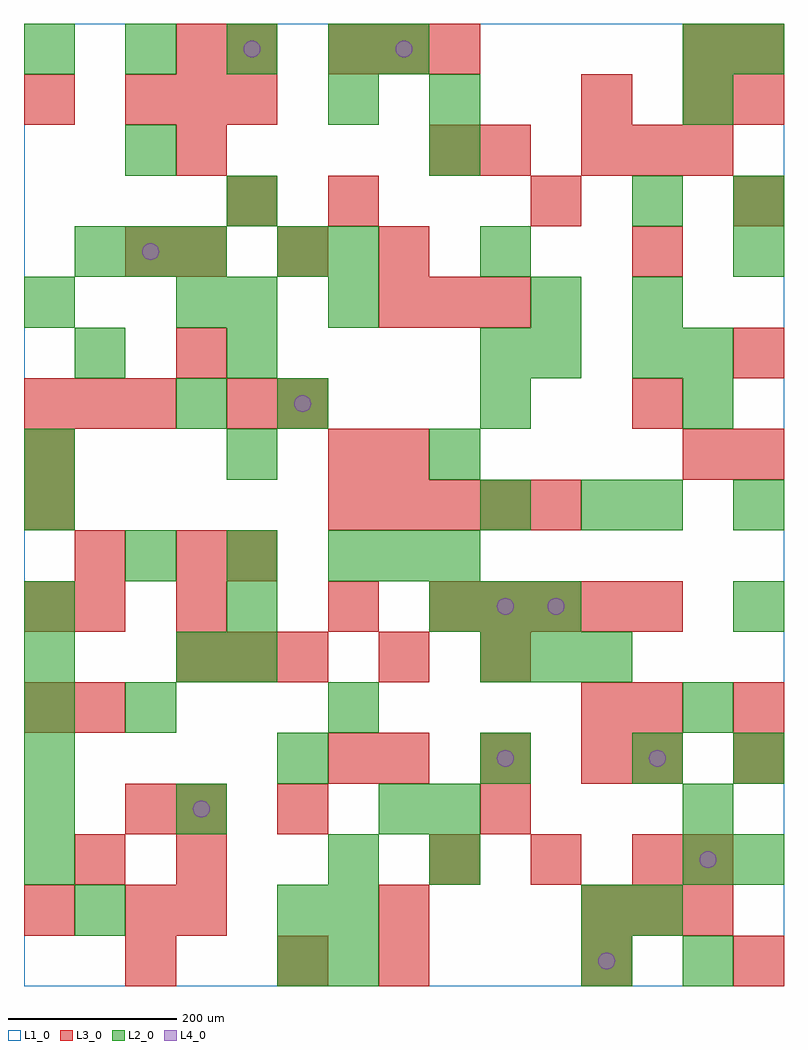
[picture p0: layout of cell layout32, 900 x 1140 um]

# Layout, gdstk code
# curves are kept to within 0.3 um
import gdstk
lib = gdstk.Library(unit=1e-6, precision=1e-09)
def R(c, l, rs):  # rectangles x0, y0, x1, y1
    for r in rs: c.add(gdstk.rectangle(r[:2], r[2:], *l))
def A(c, l, x, y, w, h, nx, ny, dx, dy):  # array of equal rectangles
    R(c, l, [(x+i*dx, y+j*dy, x+i*dx+w, y+j*dy+h) for i in range(nx) for j in range(ny)])
def P(c, l, *ps):  # polygons
    for p in ps: c.add(gdstk.Polygon(p, *l))
L1_0 = (1, 0)
L2_0 = (2, 0)
L3_0 = (3, 0)
L4_0 = (4, 0)

layout32 = lib.new_cell('layout32')
R(layout32, L1_0, [(0,0,900,1140)])
A(layout32, L2_0, 360, 0, 60, 60, 1, 3, 0, 60)
A(layout32, L2_0, 0, 120, 60, 60, 1, 5, 0, 60)
A(layout32, L2_0, 540, 360, 60, 60, 3, 1, 60, 0)
A(layout32, L2_0, 0, 420, 60, 60, 3, 2, 240, 180)
A(layout32, L2_0, 120, 480, 60, 60, 3, 1, 120, 0)
A(layout32, L2_0, 300, 660, 60, 60, 3, 1, 240, 0)
A(layout32, L2_0, 60, 840, 60, 60, 3, 1, 60, 0)
A(layout32, L2_0, 0, 1080, 60, 60, 4, 1, 120, 0)
R(layout32, L2_0, [(300,0,360,60), (660,0,720,60), (780,0,840,60), (60,60,120,120), (300,60,360,120), (660,60,720,120), (720,60,780,120), (480,120,540,180), (780,120,840,180), (840,120,900,180), (180,180,240,240), (420,180,480,240), (480,180,540,240), (780,180,840,240), (300,240,360,300), (540,240,600,300), (720,240,780,300), (840,240,900,300), (120,300,180,360), (360,300,420,360), (780,300,840,360), (180,360,240,420), (240,360,300,420), (540,420,600,480), (600,420,660,480), (840,420,900,480), (420,480,480,540), (480,480,540,540), (0,540,60,600), (540,540,600,600), (660,540,720,600), (720,540,780,600), (840,540,900,600), (180,660,240,720), (60,720,120,780), (240,720,300,780), (540,720,600,780), (600,720,660,780), (720,720,780,780), (780,720,840,780), (0,780,60,840), (180,780,240,840), (240,780,300,840), (360,780,420,840), (600,780,660,840), (720,780,780,840), (300,840,360,900), (360,840,420,900), (540,840,600,900), (840,840,900,900), (240,900,300,960), (720,900,780,960), (840,900,900,960), (120,960,180,1020), (480,960,540,1020), (360,1020,420,1080), (480,1020,540,1080), (780,1020,840,1080), (420,1080,480,1140), (780,1080,840,1140), (840,1080,900,1140)])
A(layout32, L3_0, 180, 60, 60, 60, 3, 1, 240, 0)
A(layout32, L3_0, 480, 120, 60, 60, 3, 1, 120, 0)
A(layout32, L3_0, 360, 240, 60, 60, 1, 3, 0, 180)
A(layout32, L3_0, 420, 240, 60, 60, 3, 1, 120, 0)
A(layout32, L3_0, 0, 300, 60, 60, 1, 3, 0, 120)
A(layout32, L3_0, 180, 360, 60, 60, 3, 1, 60, 0)
A(layout32, L3_0, 480, 420, 60, 60, 5, 1, 60, 0)
A(layout32, L3_0, 180, 480, 60, 60, 1, 3, 0, 240)
A(layout32, L3_0, 360, 540, 60, 60, 5, 1, 60, 0)
A(layout32, L3_0, 0, 660, 60, 60, 3, 1, 60, 0)
A(layout32, L3_0, 420, 780, 60, 60, 3, 1, 60, 0)
A(layout32, L3_0, 180, 840, 60, 60, 3, 1, 120, 0)
A(layout32, L3_0, 360, 900, 60, 60, 3, 1, 240, 0)
A(layout32, L3_0, 660, 960, 60, 60, 3, 1, 60, 0)
A(layout32, L3_0, 120, 1020, 60, 60, 3, 1, 60, 0)
A(layout32, L3_0, 360, 1080, 60, 60, 3, 1, 60, 0)
R(layout32, L3_0, [(120,0,180,60), (300,0,360,60), (420,0,480,60), (660,0,720,60), (840,0,900,60), (0,60,60,120), (120,60,180,120), (720,60,780,120), (780,60,840,120), (60,120,120,180), (180,120,240,180), (780,120,840,180), (120,180,180,240), (180,180,240,240), (300,180,360,240), (540,180,600,240), (720,240,780,300), (840,240,900,300), (60,300,120,360), (660,300,720,360), (720,300,780,360), (840,300,900,360), (420,360,480,420), (540,360,600,420), (60,420,120,480), (180,420,240,480), (60,480,120,540), (240,480,300,540), (0,600,60,660), (420,600,480,660), (780,600,840,660), (840,600,900,660), (240,660,300,720), (300,660,360,720), (720,660,780,720), (840,720,900,780), (120,840,180,900), (720,840,780,900), (240,900,300,960), (480,960,540,1020), (540,960,600,1020), (0,1020,60,1080), (660,1020,720,1080), (780,1020,840,1080), (840,1020,900,1080), (180,1080,240,1140), (240,1080,300,1140), (780,1080,840,1140), (840,1080,900,1140)])
P(layout32, L4_0, [(160,870),(159.239,873.827),(157.071,877.071),(153.827,879.239),(150,880),(146.173,879.239),(142.929,877.071),(140.761,873.827),(140,870),(140.761,866.173),(142.929,862.929),(146.173,860.761),(150,860),(153.827,860.761),(157.071,862.929),(159.239,866.173)],
  [(220,210),(219.239,213.827),(217.071,217.071),(213.827,219.239),(210,220),(206.173,219.239),(202.929,217.071),(200.761,213.827),(200,210),(200.761,206.173),(202.929,202.929),(206.173,200.761),(210,200),(213.827,200.761),(217.071,202.929),(219.239,206.173)],
  [(280,1110),(279.239,1113.827),(277.071,1117.071),(273.827,1119.239),(270,1120),(266.173,1119.239),(262.929,1117.071),(260.761,1113.827),(260,1110),(260.761,1106.173),(262.929,1102.929),(266.173,1100.761),(270,1100),(273.827,1100.761),(277.071,1102.929),(279.239,1106.173)],
  [(340,690),(339.239,693.827),(337.071,697.071),(333.827,699.239),(330,700),(326.173,699.239),(322.929,697.071),(320.761,693.827),(320,690),(320.761,686.173),(322.929,682.929),(326.173,680.761),(330,680),(333.827,680.761),(337.071,682.929),(339.239,686.173)],
  [(460,1110),(459.239,1113.827),(457.071,1117.071),(453.827,1119.239),(450,1120),(446.173,1119.239),(442.929,1117.071),(440.761,1113.827),(440,1110),(440.761,1106.173),(442.929,1102.929),(446.173,1100.761),(450,1100),(453.827,1100.761),(457.071,1102.929),(459.239,1106.173)],
  [(580,270),(579.239,273.827),(577.071,277.071),(573.827,279.239),(570,280),(566.173,279.239),(562.929,277.071),(560.761,273.827),(560,270),(560.761,266.173),(562.929,262.929),(566.173,260.761),(570,260),(573.827,260.761),(577.071,262.929),(579.239,266.173)],
  [(580,450),(579.239,453.827),(577.071,457.071),(573.827,459.239),(570,460),(566.173,459.239),(562.929,457.071),(560.761,453.827),(560,450),(560.761,446.173),(562.929,442.929),(566.173,440.761),(570,440),(573.827,440.761),(577.071,442.929),(579.239,446.173)],
  [(640,450),(639.239,453.827),(637.071,457.071),(633.827,459.239),(630,460),(626.173,459.239),(622.929,457.071),(620.761,453.827),(620,450),(620.761,446.173),(622.929,442.929),(626.173,440.761),(630,440),(633.827,440.761),(637.071,442.929),(639.239,446.173)],
  [(700,30),(699.239,33.827),(697.071,37.071),(693.827,39.239),(690,40),(686.173,39.239),(682.929,37.071),(680.761,33.827),(680,30),(680.761,26.173),(682.929,22.929),(686.173,20.761),(690,20),(693.827,20.761),(697.071,22.929),(699.239,26.173)],
  [(760,270),(759.239,273.827),(757.071,277.071),(753.827,279.239),(750,280),(746.173,279.239),(742.929,277.071),(740.761,273.827),(740,270),(740.761,266.173),(742.929,262.929),(746.173,260.761),(750,260),(753.827,260.761),(757.071,262.929),(759.239,266.173)],
  [(820,150),(819.239,153.827),(817.071,157.071),(813.827,159.239),(810,160),(806.173,159.239),(802.929,157.071),(800.761,153.827),(800,150),(800.761,146.173),(802.929,142.929),(806.173,140.761),(810,140),(813.827,140.761),(817.071,142.929),(819.239,146.173)])

lib.write_gds('layout32.gds')
